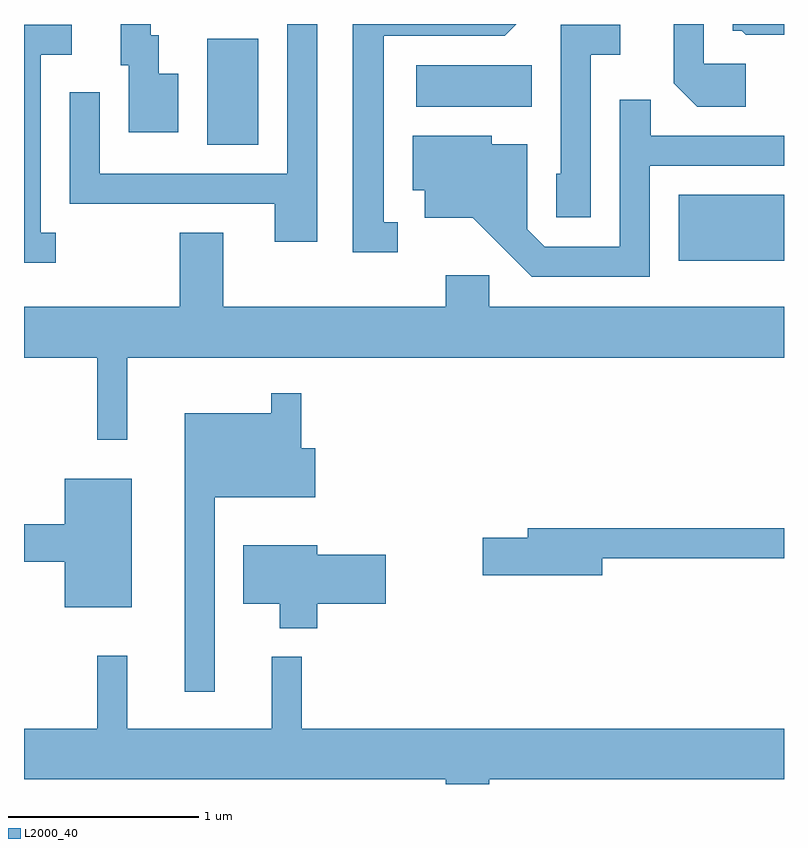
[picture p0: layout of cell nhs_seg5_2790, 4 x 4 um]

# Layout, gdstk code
import gdstk
lib = gdstk.Library(unit=1e-6, precision=1e-09)
def R(c, l, rs):  # rectangles x0, y0, x1, y1
    for r in rs: c.add(gdstk.rectangle(r[:2], r[2:], *l))
def P(c, l, *ps):  # polygons
    for p in ps: c.add(gdstk.Polygon(p, *l))
L2000_40 = (2000, 40)

nhs_seg5_2790 = lib.new_cell('nhs_seg5_2790')
R(nhs_seg5_2790, L2000_40, [(271.056,1492.826,271.611,1493.174), (268.576,1493.436,268.844,1493.994), (269.676,1493.636,270.284,1493.854)])
P(nhs_seg5_2790, L2000_40, [(268.424,1493.809),(268.319,1493.809),(268.319,1494.014),(268.279,1494.014),(268.279,1494.072),(268.121,1494.072),(268.121,1493.856),(268.161,1493.856),(268.161,1493.501),(268.424,1493.501)],
  [(271.409,1493.864),(271.189,1493.864),(271.189,1494.072),(271.031,1494.072),(271.031,1493.759),(271.154,1493.636),(271.409,1493.636)],
  [(269.578,1493.029),(269.504,1493.029),(269.504,1494.011),(270.142,1494.011),(270.203,1494.072),(269.341,1494.072),(269.341,1492.871),(269.578,1492.871)],
  [(271.611,1494.072),(271.341,1494.072),(271.341,1494.036),(271.389,1494.036),(271.409,1494.016),(271.611,1494.016)],
  [(269.154,1494.072),(268.996,1494.072),(268.996,1493.284),(268.009,1493.284),(268.009,1493.713),(267.851,1493.713),(267.851,1493.126),(268.931,1493.126),(268.931,1492.926),(269.154,1492.926)],
  [(270.594,1493.911),(270.748,1493.911),(270.748,1494.069),(270.436,1494.069),(270.436,1493.284),(270.411,1493.284),(270.411,1493.056),(270.594,1493.056)],
  [(267.778,1492.974),(267.699,1492.974),(267.699,1493.911),(267.863,1493.911),(267.863,1494.069),(267.611,1494.069),(267.611,1492.816),(267.778,1492.816)],
  [(270.904,1493.326),(271.611,1493.326),(271.611,1493.484),(270.909,1493.484),(270.909,1493.673),(270.746,1493.673),(270.746,1492.899),(270.352,1492.899),(270.259,1492.992),(270.259,1493.439),(270.074,1493.439),(270.074,1493.484),(269.656,1493.484),(269.656,1493.196),(269.721,1493.196),(269.721,1493.051),(269.974,1493.051),(270.284,1492.741),(270.904,1492.741)],
  [(268.154,1492.316),(271.611,1492.316),(271.611,1492.584),(270.059,1492.584),(270.059,1492.749),(269.831,1492.749),(269.831,1492.584),(268.659,1492.584),(268.659,1492.974),(268.431,1492.974),(268.431,1492.584),(267.611,1492.584),(267.611,1492.316),(267.996,1492.316),(267.996,1491.883),(268.154,1491.883)],
  [(268.614,1491.581),(269.144,1491.581),(269.144,1491.839),(269.069,1491.839),(269.069,1492.128),(268.911,1492.128),(268.911,1492.024),(268.456,1492.024),(268.456,1490.558),(268.614,1490.558)],
  [(268.179,1491.679),(267.826,1491.679),(267.826,1491.439),(267.611,1491.439),(267.611,1491.241),(267.826,1491.241),(267.826,1491.001),(268.179,1491.001)],
  [(270.654,1491.261),(271.611,1491.261),(271.611,1491.419),(270.261,1491.419),(270.261,1491.369),(270.026,1491.369),(270.026,1491.171),(270.654,1491.171)],
  [(269.154,1491.021),(269.514,1491.021),(269.514,1491.279),(269.154,1491.279),(269.154,1491.329),(268.766,1491.329),(268.766,1491.021),(268.956,1491.021),(268.956,1490.891),(269.154,1490.891)],
  [(270.059,1490.096),(271.611,1490.096),(271.611,1490.364),(269.074,1490.364),(269.074,1490.743),(268.916,1490.743),(268.916,1490.364),(268.154,1490.364),(268.154,1490.748),(267.996,1490.748),(267.996,1490.364),(267.611,1490.364),(267.611,1490.096),(269.831,1490.096),(269.831,1490.072),(270.059,1490.072)])

lib.write_gds('nhs_seg5_2790.gds')
